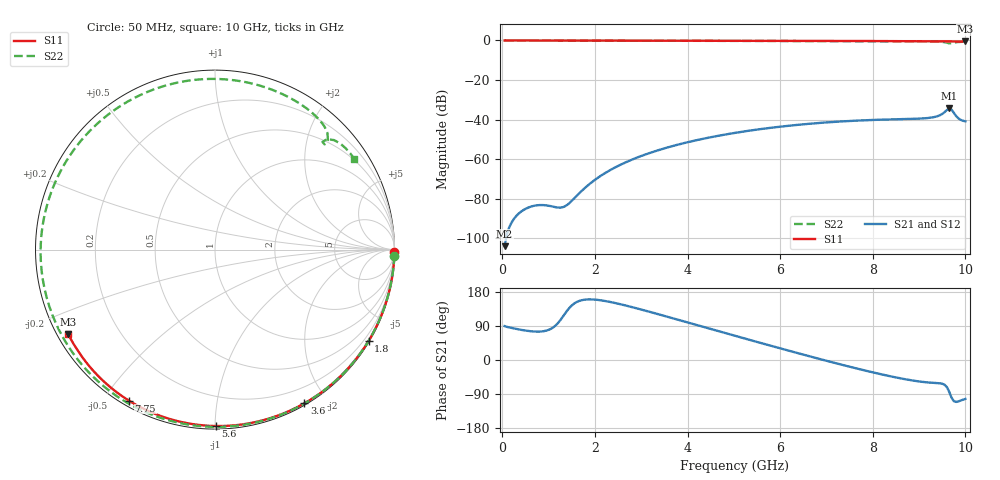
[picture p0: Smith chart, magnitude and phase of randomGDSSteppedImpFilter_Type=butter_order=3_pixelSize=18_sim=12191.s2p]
! freq	dB(S11)	phase(S11)	dB(S12)	phase(S12)
!  dB(S21)	phase(S21)	dB(S22)	phase(S22)
!S-par simulation data
#  GHz  S  DB  R 50
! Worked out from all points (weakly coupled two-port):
!   200 points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, 50 MHz to 10 GHz, reference 50 ohm
!   highest |S21| = -34.41 dB at 9.65 GHz (marker M1); lowest = -104.1 dB at 50 MHz (marker M2)
!   lowest |S11| = -0.5 dB at 10 GHz (marker M3), VSWR 34.41, Z = 1.56 - j13.4 ohm
!   |S11| at or under -10 dB: nowhere
!   |S22| runs from -1.4 to 0.0 dB; largest |S21 - S12| = 0
!   S11 on the Smith chart (normalised r, x): 50 MHz: open; 1.8 GHz: 0.03, -3.65; 3.6 GHz: 0.02, -1.74; 5.6 GHz: 0.02, -1.00; 7.75 GHz: 0.02, -0.58; 10 GHz: 0.03, -0.27
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0.05  -0.00 -0.9  -104.08 89.4  -104.08 89.4  -0.00 -1.9
0.75  -0.02 -12.9  -83.40 74.9  -83.40 74.9  -0.04 -28.1
1.55  -0.03 -26.5  -79.97 148.8  -79.97 148.8  -0.07 -57.0
1.75  -0.04 -29.8  -75.34 158.7  -75.34 158.7  -0.08 -63.9
1.8  -0.04 -30.7  -74.28 159.5  -74.28 159.5  -0.08 -65.7
2.45  -0.05 -41.4  -64.08 150.0  -64.08 150.0  -0.11 -87.4
3.4  -0.08 -56.6  -55.29 119.8  -55.29 119.8  -0.14 -117.3
3.6  -0.08 -59.8  -53.92 113.0  -53.92 113.0  -0.15 -123.3
4.35  -0.10 -71.3  -49.67 87.1  -49.67 87.1  -0.18 -145.4
5.05  -0.13 -81.8  -46.66 63.0  -46.66 63.0  -0.22 -165.6
5.6  -0.15 -89.8  -44.78 44.3  -44.78 44.3  -0.25 178.6
6.15  -0.17 -97.6  -43.24 25.8  -43.24 25.8  -0.29 162.5
6.7  -0.21 -105.3  -42.01 7.6  -42.01 7.6  -0.33 145.9
7.75  -0.28 -119.7  -40.45 -25.3  -40.45 -25.3  -0.39 112.6
8.35  -0.33 -127.7  -39.97 -42.2  -39.97 -42.2  -0.43 92.2
8.85  -0.38 -134.4  -39.67 -53.9  -39.67 -53.9  -0.47 74.3
9.3  -0.43 -140.5  -38.88 -60.2  -38.88 -60.2  -0.56 57.0
9.55  -0.46 -143.8  -36.30 -65.2  -36.30 -65.2  -0.89 46.1
9.65  -0.46 -145.1  -34.41 -83.6  -34.41 -83.6  -1.45 43.8
9.7  -0.47 -145.8  -34.93 -99.1  -34.93 -99.1  -1.44 45.1
9.85  -0.48 -147.9  -39.43 -109.2  -39.43 -109.2  -0.77 40.1
10  -0.50 -149.9  -40.93 -102.8  -40.93 -102.8  -0.66 33.1
